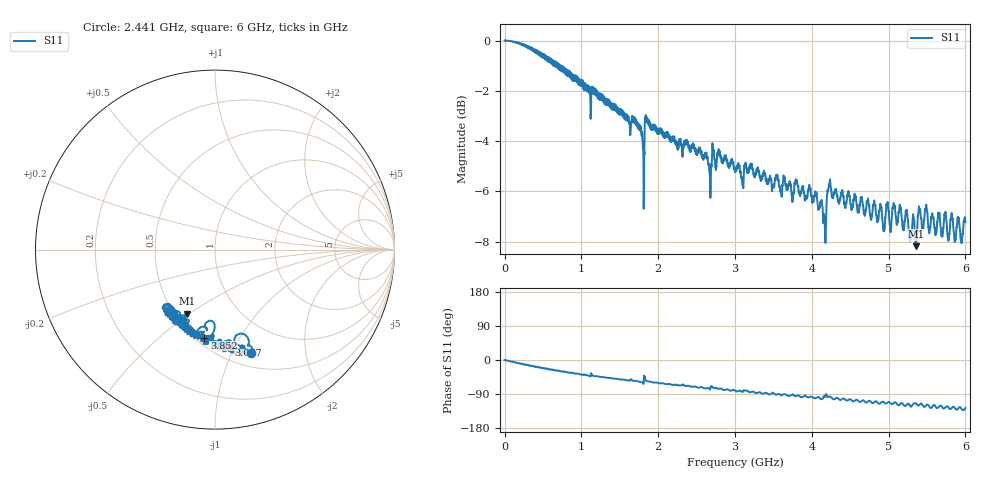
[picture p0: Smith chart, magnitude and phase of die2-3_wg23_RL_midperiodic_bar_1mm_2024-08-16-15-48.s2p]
!Keysight Technologies,P9374A,MY57304198,A.17.20.09
!Date: Friday, August 16, 2024 15:49:06
!Correction: S11(C  1-Port  )
!S21(C  1-Port  )
!S12(Off)
!S22(Off)
!S2P File: Measurements: S11, S21, S12, S22:
# Hz S  dB  R 50
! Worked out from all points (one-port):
!   6000 points, 300 kHz to 6 GHz, reference 50 ohm
!   lowest |S11| = -8.2 dB at 5.354 GHz (marker M1), VSWR 2.28, Z = 28.9 - j24.3 ohm
!   |S11| at or under -10 dB: nowhere
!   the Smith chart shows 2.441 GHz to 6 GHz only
!   S11 on the Smith chart (normalised r, x): 2.441 GHz: 0.64, -1.19; 3.077 GHz: 0.63, -0.94; 3.852 GHz: 0.55, -0.72; 6 GHz: 0.47, -0.41
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300000  -0.00 -0.0  -200.00 45.0  -200.00 45.0  -200.00 45.0
4.963579e8  -0.52 -21.0  -200.00 45.0  -200.00 45.0  -200.00 45.0
1.000417e9  -1.56 -38.2  -200.00 45.0  -200.00 45.0  -200.00 45.0
1.783508e9  -3.78 -58.4  -200.00 45.0  -200.00 45.0  -200.00 45.0
1.806511e9  -4.49 -61.9  -200.00 45.0  -200.00 45.0  -200.00 45.0
1.846515e9  -3.23 -55.1  -200.00 45.0  -200.00 45.0  -200.00 45.0
2.000533e9  -3.53 -61.0  -200.00 45.0  -200.00 45.0  -200.00 45.0
2.440585e9  -4.27 -70.9  -200.00 45.0  -200.00 45.0  -200.00 45.0
2.670612e9  -5.33 -77.1  -200.00 45.0  -200.00 45.0  -200.00 45.0
2.793626e9  -4.48 -75.8  -200.00 45.0  -200.00 45.0  -200.00 45.0
3.00065e9  -5.22 -80.6  -200.00 45.0  -200.00 45.0  -200.00 45.0
3.076659e9  -5.38 -81.7  -200.00 45.0  -200.00 45.0  -200.00 45.0
3.851749e9  -6.12 -97.0  -200.00 45.0  -200.00 45.0  -200.00 45.0
4.000767e9  -6.29 -97.1  -200.00 45.0  -200.00 45.0  -200.00 45.0
4.120781e9  -6.46 -103.3  -200.00 45.0  -200.00 45.0  -200.00 45.0
4.180788e9  -7.82 -91.0  -200.00 45.0  -200.00 45.0  -200.00 45.0
4.227793e9  -5.71 -96.1  -200.00 45.0  -200.00 45.0  -200.00 45.0
4.54383e9  -6.36 -109.1  -200.00 45.0  -200.00 45.0  -200.00 45.0
5.000883e9  -6.77 -110.9  -200.00 45.0  -200.00 45.0  -200.00 45.0
5.218909e9  -6.94 -121.1  -200.00 45.0  -200.00 45.0  -200.00 45.0
5.353925e9  -8.18 -113.8  -200.00 45.0  -200.00 45.0  -200.00 45.0
6e9  -7.22 -126.7  -200.00 45.0  -200.00 45.0  -200.00 45.0
